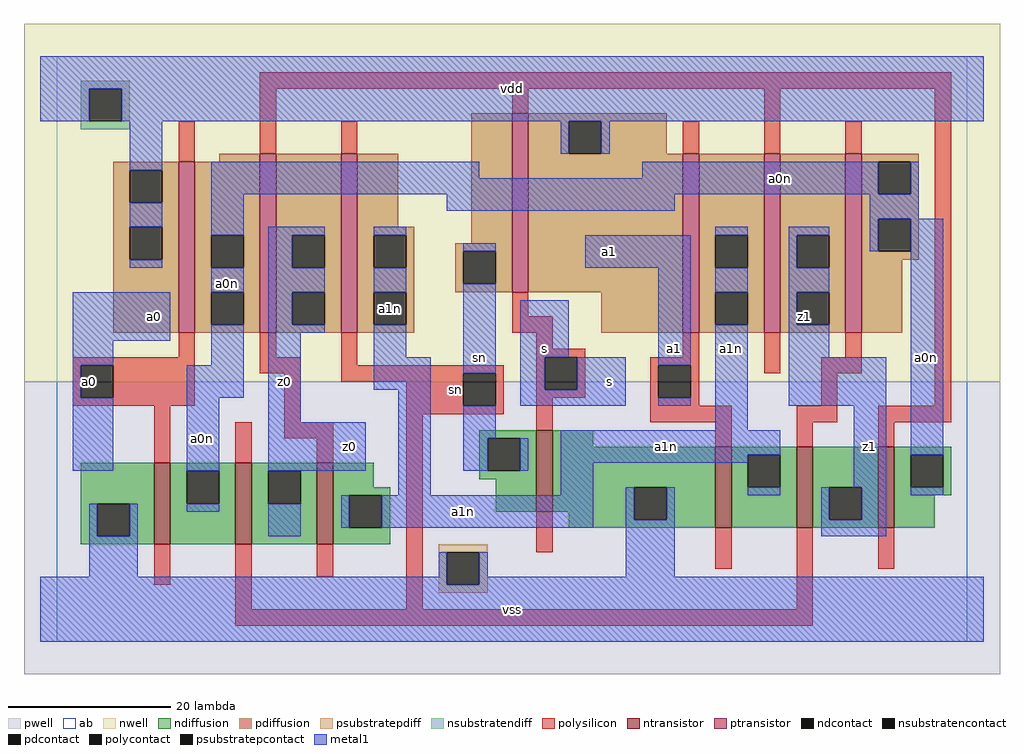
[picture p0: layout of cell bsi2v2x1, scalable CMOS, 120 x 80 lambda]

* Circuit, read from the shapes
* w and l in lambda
.subckt bsi2v2x1 a0 a0n a1 a1n s sn vdd vss z0 z1
M1 a0n a0 vss vss nfet w=10 l=2
M2 z0 sn a0n vss nfet w=10 l=2
M3 a1n s z0 vss nfet w=10 l=2
M4 vss s sn vss nfet w=10 l=2
M5 a1n a1 vss vss nfet w=10 l=2
M6 z1 sn a1n vss nfet w=10 l=2
M7 a0n s z1 vss nfet w=10 l=2
M8 a0n a0 vdd vdd pfet w=21 l=2
M9 z0 s a0n vdd pfet w=22 l=2
M10 a1n sn z0 vdd pfet w=22 l=2
M11 vdd s sn vdd pfet w=22 l=2
M12 a1n a1 vdd vdd pfet w=22 l=2
M13 z1 s a1n vdd pfet w=22 l=2
M14 a0n sn z1 vdd pfet w=22 l=2
.ends

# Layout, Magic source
magic
tech scmos
<< ab >>
rect 0 0 112 72
<< pwell >>
rect -4 -4 116 32
<< nwell >>
rect -4 32 116 76
<< polysilicon >>
rect 25 68 110 70
rect 15 59 17 64
rect 25 60 27 68
rect 56 65 58 68
rect 35 60 37 64
rect 77 60 79 64
rect 87 60 89 68
rect 97 60 99 64
rect 56 40 58 43
rect 56 38 61 40
rect 15 35 17 38
rect 2 34 17 35
rect 2 30 3 34
rect 7 30 17 34
rect 25 35 27 38
rect 25 33 30 35
rect 2 29 17 30
rect 12 22 14 29
rect 28 27 30 33
rect 35 34 37 38
rect 59 36 61 38
rect 59 35 65 36
rect 77 35 79 38
rect 35 33 55 34
rect 35 32 50 33
rect 43 29 50 32
rect 54 29 55 33
rect 43 28 55 29
rect 59 31 60 35
rect 64 31 65 35
rect 59 30 65 31
rect 73 34 79 35
rect 73 30 74 34
rect 78 30 79 34
rect 87 33 89 38
rect 97 35 99 38
rect 94 33 99 35
rect 22 22 24 27
rect 28 25 34 27
rect 32 22 34 25
rect 12 7 14 12
rect 22 4 24 12
rect 32 8 34 12
rect 43 4 45 28
rect 59 26 61 30
rect 73 29 79 30
rect 94 29 96 33
rect 108 29 110 68
rect 73 27 83 29
rect 81 24 83 27
rect 91 27 96 29
rect 101 27 110 29
rect 91 24 93 27
rect 101 24 103 27
rect 59 11 61 16
rect 81 9 83 14
rect 91 4 93 14
rect 101 9 103 14
rect 22 2 93 4
<< ndiffusion >>
rect 3 17 12 22
rect 3 13 5 17
rect 9 13 12 17
rect 3 12 12 13
rect 14 21 22 22
rect 14 17 16 21
rect 20 17 22 21
rect 14 12 22 17
rect 24 21 32 22
rect 24 17 26 21
rect 30 17 32 21
rect 24 12 32 17
rect 34 19 39 22
rect 34 18 41 19
rect 34 14 36 18
rect 40 14 41 18
rect 34 12 41 14
rect 52 25 59 26
rect 52 21 53 25
rect 57 21 59 25
rect 52 20 59 21
rect 54 16 59 20
rect 61 24 66 26
rect 61 19 81 24
rect 61 16 71 19
rect 63 15 71 16
rect 75 15 81 19
rect 63 14 81 15
rect 83 23 91 24
rect 83 19 85 23
rect 89 19 91 23
rect 83 14 91 19
rect 93 19 101 24
rect 93 15 95 19
rect 99 15 101 19
rect 93 14 101 15
rect 103 23 110 24
rect 103 19 105 23
rect 109 19 110 23
rect 103 18 110 19
rect 103 14 108 18
<< pdiffusion >>
rect 20 59 25 60
rect 7 58 15 59
rect 7 54 9 58
rect 13 54 15 58
rect 7 51 15 54
rect 7 47 9 51
rect 13 47 15 51
rect 7 38 15 47
rect 17 50 25 59
rect 17 46 19 50
rect 23 46 25 50
rect 17 43 25 46
rect 17 39 19 43
rect 23 39 25 43
rect 17 38 25 39
rect 27 50 35 60
rect 27 46 29 50
rect 33 46 35 50
rect 27 43 35 46
rect 27 39 29 43
rect 33 39 35 43
rect 27 38 35 39
rect 37 51 42 60
rect 37 50 44 51
rect 37 46 39 50
rect 43 46 44 50
rect 51 49 56 65
rect 37 43 44 46
rect 49 48 56 49
rect 49 44 50 48
rect 54 44 56 48
rect 49 43 56 44
rect 58 64 75 65
rect 58 60 63 64
rect 67 60 75 64
rect 58 43 77 60
rect 37 39 39 43
rect 43 39 44 43
rect 37 38 44 39
rect 67 38 77 43
rect 79 50 87 60
rect 79 46 81 50
rect 85 46 87 50
rect 79 43 87 46
rect 79 39 81 43
rect 85 39 87 43
rect 79 38 87 39
rect 89 50 97 60
rect 89 46 91 50
rect 95 46 97 50
rect 89 43 97 46
rect 89 39 91 43
rect 95 39 97 43
rect 89 38 97 39
rect 99 59 106 60
rect 99 55 101 59
rect 105 55 106 59
rect 99 52 106 55
rect 99 48 101 52
rect 105 48 106 52
rect 99 47 106 48
rect 99 38 104 47
<< metal1 >>
rect -2 68 114 72
rect -2 64 4 68
rect 8 64 114 68
rect 9 58 13 64
rect 62 60 63 64
rect 67 60 68 64
rect 9 51 13 54
rect 9 46 13 47
rect 19 57 52 59
rect 72 57 101 59
rect 19 55 101 57
rect 105 55 106 59
rect 19 50 23 55
rect 48 53 76 55
rect 100 52 106 55
rect 19 43 23 46
rect 2 37 14 43
rect 2 34 7 37
rect 19 34 23 39
rect 2 30 3 34
rect 2 21 7 30
rect 16 30 23 34
rect 26 50 33 51
rect 26 46 29 50
rect 26 43 33 46
rect 26 39 29 43
rect 26 38 33 39
rect 39 50 43 51
rect 81 50 85 51
rect 39 43 43 46
rect 16 21 20 30
rect 4 13 5 17
rect 9 13 10 17
rect 16 16 20 17
rect 26 27 30 38
rect 39 35 43 39
rect 50 48 54 49
rect 65 46 78 50
rect 39 31 46 35
rect 26 21 38 27
rect 42 18 46 31
rect 50 33 54 44
rect 57 35 63 42
rect 57 31 60 35
rect 64 31 70 35
rect 57 29 70 31
rect 74 34 78 46
rect 74 29 78 30
rect 81 43 85 46
rect 50 25 54 29
rect 81 26 85 39
rect 90 50 95 51
rect 90 46 91 50
rect 100 48 101 52
rect 90 43 95 46
rect 90 39 91 43
rect 90 35 95 39
rect 90 29 102 35
rect 50 21 53 25
rect 57 21 58 25
rect 62 23 89 26
rect 62 22 85 23
rect 62 18 66 22
rect 98 19 102 29
rect 26 13 30 17
rect 35 14 36 18
rect 40 14 66 18
rect 70 15 71 19
rect 75 15 76 19
rect 85 18 89 19
rect 4 8 10 13
rect 47 8 48 11
rect -2 7 48 8
rect 52 8 53 11
rect 70 8 76 15
rect 94 15 95 19
rect 99 15 102 19
rect 105 23 109 52
rect 105 18 109 19
rect 94 13 102 15
rect 52 7 114 8
rect -2 0 114 7
<< ntransistor >>
rect 12 12 14 22
rect 22 12 24 22
rect 32 12 34 22
rect 59 16 61 26
rect 81 14 83 24
rect 91 14 93 24
rect 101 14 103 24
<< ptransistor >>
rect 15 38 17 59
rect 25 38 27 60
rect 35 38 37 60
rect 56 43 58 65
rect 77 38 79 60
rect 87 38 89 60
rect 97 38 99 60
<< polycontact >>
rect 3 30 7 34
rect 50 29 54 33
rect 60 31 64 35
rect 74 30 78 34
<< ndcontact >>
rect 5 13 9 17
rect 16 17 20 21
rect 26 17 30 21
rect 36 14 40 18
rect 53 21 57 25
rect 71 15 75 19
rect 85 19 89 23
rect 95 15 99 19
rect 105 19 109 23
<< pdcontact >>
rect 9 54 13 58
rect 9 47 13 51
rect 19 46 23 50
rect 19 39 23 43
rect 29 46 33 50
rect 29 39 33 43
rect 39 46 43 50
rect 50 44 54 48
rect 63 60 67 64
rect 39 39 43 43
rect 81 46 85 50
rect 81 39 85 43
rect 91 46 95 50
rect 91 39 95 43
rect 101 55 105 59
rect 101 48 105 52
<< psubstratepcontact >>
rect 48 7 52 11
<< nsubstratencontact >>
rect 4 64 8 68
<< psubstratepdiff >>
rect 47 11 53 12
rect 47 7 48 11
rect 52 7 53 11
rect 47 6 53 7
<< nsubstratendiff >>
rect 3 68 9 69
rect 3 64 4 68
rect 8 64 9 68
rect 3 63 9 64
<< labels >>
rlabel polysilicon 49 31 49 31 6 sn
rlabel polycontact 4 32 4 32 6 a0
rlabel metal1 18 25 18 25 6 a0n
rlabel metal1 12 40 12 40 6 a0
rlabel metal1 36 24 36 24 6 z0
rlabel metal1 28 32 28 32 6 z0
rlabel pdcontact 41 41 41 41 6 a1n
rlabel metal1 21 44 21 44 6 a0n
rlabel metal1 56 4 56 4 6 vss
rlabel metal1 50 16 50 16 6 a1n
rlabel metal1 60 36 60 36 6 s
rlabel metal1 52 35 52 35 6 sn
rlabel metal1 56 68 56 68 6 vdd
rlabel metal1 75 24 75 24 6 a1n
rlabel metal1 68 32 68 32 6 s
rlabel metal1 76 36 76 36 6 a1
rlabel metal1 83 36 83 36 6 a1n
rlabel metal1 68 48 68 48 6 a1
rlabel metal1 100 24 100 24 6 z1
rlabel pdcontact 92 40 92 40 6 z1
rlabel metal1 107 35 107 35 6 a0n
rlabel metal1 89 57 89 57 6 a0n
<< end >>
